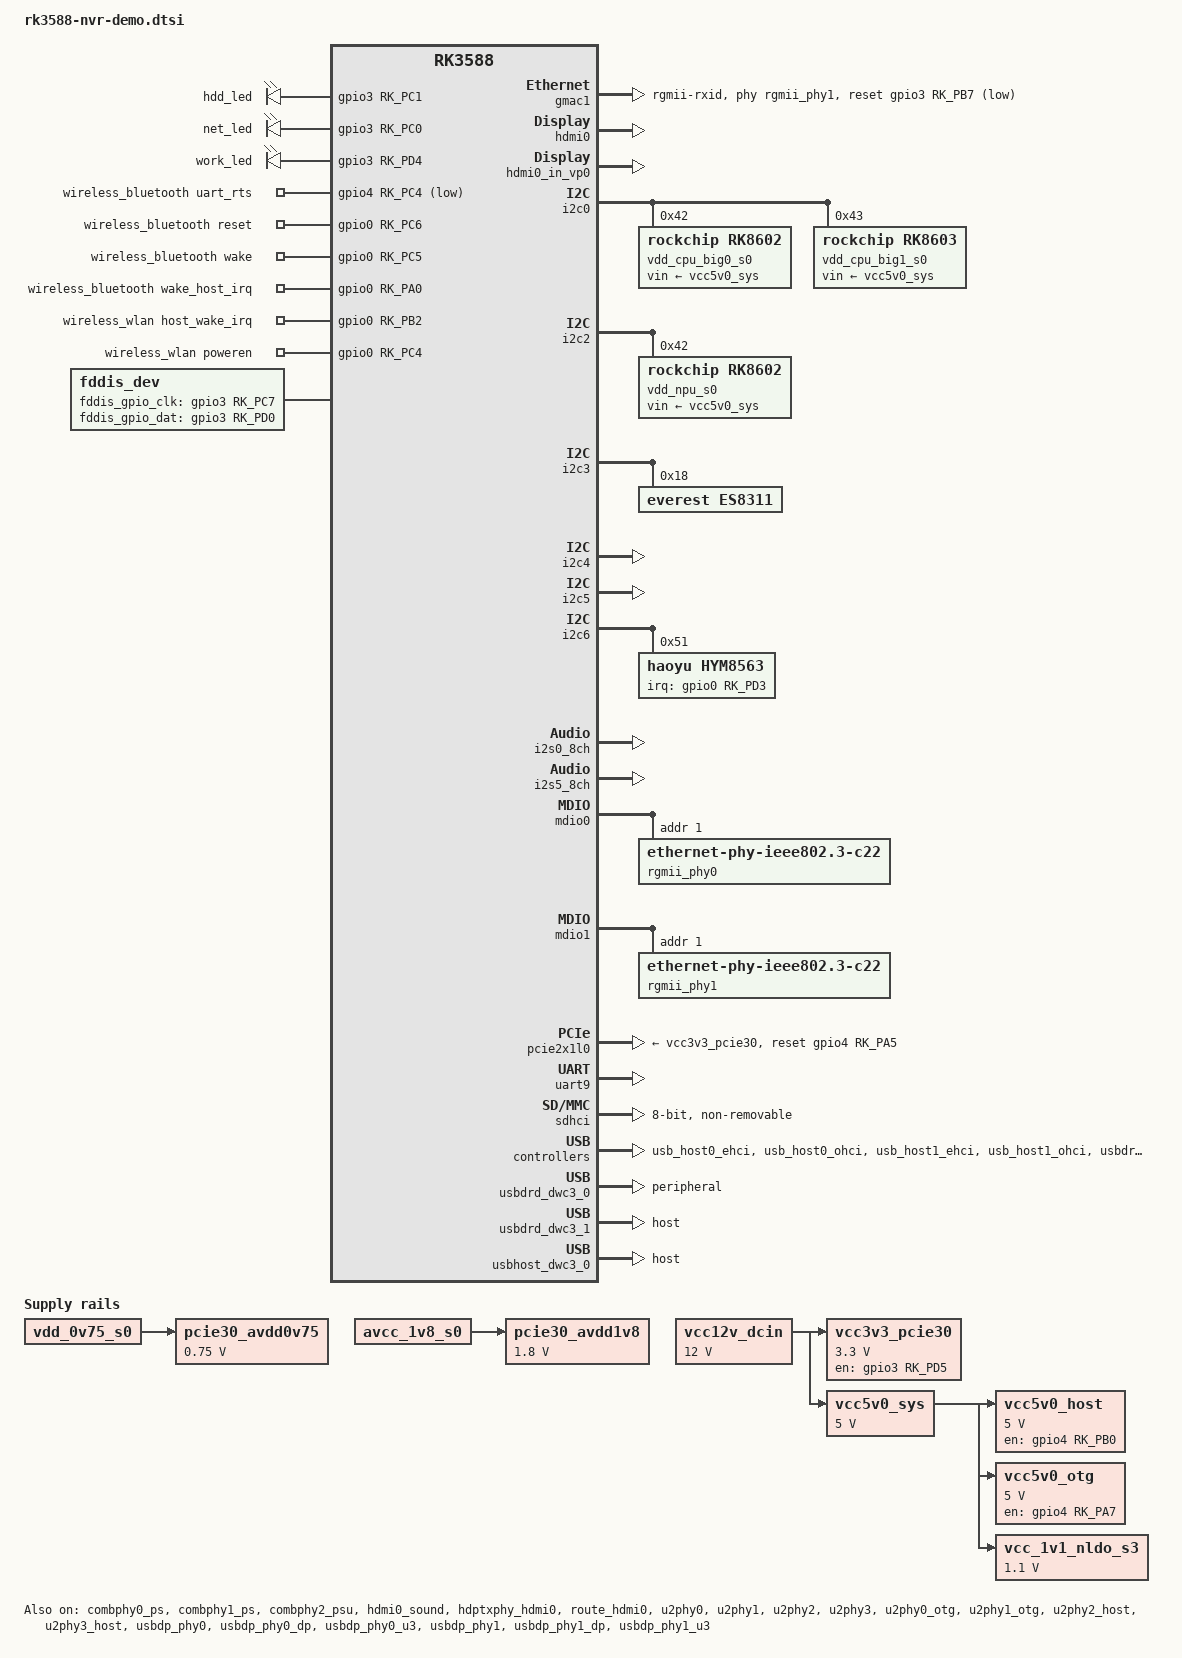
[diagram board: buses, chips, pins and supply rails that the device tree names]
// SPDX-License-Identifier: (GPL-2.0+ OR MIT)
/*
 * Copyright (c) 2021 Rockchip Electronics Co., Ltd.
 *
 */

#include "rk3588.dtsi"
#include "rk3588-nvr.dtsi"
#include "rk3588-rk806-single.dtsi"

/ {
	i2s0_sound: i2s0-sound {
		status = "okay";
		compatible = "simple-audio-card";
		simple-audio-card,format = "i2s";
		simple-audio-card,mclk-fs = <256>;
		simple-audio-card,name = "rockchip,es8311";
		simple-audio-card,dai-link@0 {
			format = "i2s";
			cpu {
				sound-dai = <&i2s0_8ch>;
			};
			codec {
				sound-dai = <&es8311>;
			};
		};
	};

	leds: leds {
		compatible = "gpio-leds";
		hdd_led: hdd-led {
			gpios = <&gpio3 RK_PC1 GPIO_ACTIVE_HIGH>;
			default-state = "off";
		};
		net_led: net-led {
			gpios = <&gpio3 RK_PC0 GPIO_ACTIVE_HIGH>;
			default-state = "off";
		};
		work_led: work-led {
			gpios = <&gpio3 RK_PD4 GPIO_ACTIVE_HIGH>;
			linux,default-trigger = "heartbeat";
		};
	};

	pcie30_avdd0v75: pcie30-avdd0v75 {
		compatible = "regulator-fixed";
		regulator-name = "pcie30_avdd0v75";
		regulator-boot-on;
		regulator-always-on;
		regulator-min-microvolt = <750000>;
		regulator-max-microvolt = <750000>;
		vin-supply = <&vdd_0v75_s0>;
	};

	pcie30_avdd1v8: pcie30-avdd1v8 {
		compatible = "regulator-fixed";
		regulator-name = "pcie30_avdd1v8";
		regulator-boot-on;
		regulator-always-on;
		regulator-min-microvolt = <1800000>;
		regulator-max-microvolt = <1800000>;
		vin-supply = <&avcc_1v8_s0>;
	};

	vcc12v_dcin: vcc12v-dcin {
		compatible = "regulator-fixed";
		regulator-name = "vcc12v_dcin";
		regulator-always-on;
		regulator-boot-on;
		regulator-min-microvolt = <12000000>;
		regulator-max-microvolt = <12000000>;
	};

	vcc3v3_pcie30: vcc3v3-pcie30 {
		compatible = "regulator-fixed";
		regulator-name = "vcc3v3_pcie30";
		regulator-min-microvolt = <3300000>;
		regulator-max-microvolt = <3300000>;
		enable-active-high;
		gpios = <&gpio3 RK_PD5 GPIO_ACTIVE_HIGH>;
		startup-delay-us = <7500>;
		vin-supply = <&vcc12v_dcin>;
	};

	vcc5v0_sys: vcc5v0-sys {
		compatible = "regulator-fixed";
		regulator-name = "vcc5v0_sys";
		regulator-always-on;
		regulator-boot-on;
		regulator-min-microvolt = <5000000>;
		regulator-max-microvolt = <5000000>;
		vin-supply = <&vcc12v_dcin>;
	};

	vcc5v0_host: vcc5v0-host-regulator {
		compatible = "regulator-fixed";
		regulator-name = "vcc5v0_host";
		regulator-boot-on;
		regulator-always-on;
		regulator-min-microvolt = <5000000>;
		regulator-max-microvolt = <5000000>;
		enable-active-high;
		gpio = <&gpio4 RK_PB0 GPIO_ACTIVE_HIGH>;
		vin-supply = <&vcc5v0_sys>;
		pinctrl-names = "default";
		pinctrl-0 = <&vcc5v0_host_en>;
	};

	vcc5v0_otg: vcc5v0-otg-regulator {
		compatible = "regulator-fixed";
		regulator-name = "vcc5v0_otg";
		regulator-min-microvolt = <5000000>;
		regulator-max-microvolt = <5000000>;
		enable-active-high;
		gpio = <&gpio4 RK_PA7 GPIO_ACTIVE_HIGH>;
		vin-supply = <&vcc5v0_sys>;
		pinctrl-names = "default";
		pinctrl-0 = <&vcc5v0_otg_en>;
	};

	vcc_1v1_nldo_s3: vcc-1v1-nldo-s3 {
		compatible = "regulator-fixed";
		regulator-name = "vcc_1v1_nldo_s3";
		regulator-always-on;
		regulator-boot-on;
		regulator-min-microvolt = <1100000>;
		regulator-max-microvolt = <1100000>;
		vin-supply = <&vcc5v0_sys>;
	};

	wireless_bluetooth: wireless-bluetooth {
        	compatible = "bluetooth-platdata";
        	clocks = <&hym8563>;
        	clock-names = "ext_clock";
        	uart_rts_gpios = <&gpio4 RK_PC4 GPIO_ACTIVE_LOW>;
        	pinctrl-names = "default", "rts_gpio";
        	pinctrl-0 = <&uart9m1_rtsn>, <&bt_reset_gpio>, <&bt_wake_gpio>, <&bt_irq_gpio>;
        	pinctrl-1 = <&uart9_gpios>;
        	BT,reset_gpio    = <&gpio0 RK_PC6 GPIO_ACTIVE_HIGH>;
        	BT,wake_gpio     = <&gpio0 RK_PC5 GPIO_ACTIVE_HIGH>;
        	BT,wake_host_irq = <&gpio0 RK_PA0 GPIO_ACTIVE_HIGH>;
        	status = "okay";
	}; 

	wireless_wlan: wireless-wlan {
	       compatible = "wlan-platdata";
 	       wifi_chip_type = "ap6255";
	       pinctrl-names = "default";
	       pinctrl-0 = <&wifi_host_wake_irq>, <&wifi_poweren_gpio>;
	       WIFI,host_wake_irq = <&gpio0 RK_PB2 GPIO_ACTIVE_HIGH>;
 	       WIFI,poweren_gpio = <&gpio0 RK_PC4 GPIO_ACTIVE_HIGH>;
	       status = "okay";
	};

	fddis_dev {
		compatible = "fddis_dev";
		fddis_gpio_clk = <&gpio3 RK_PC7 GPIO_ACTIVE_HIGH>;
		fddis_gpio_dat = <&gpio3 RK_PD0 GPIO_ACTIVE_HIGH>;
		status = "okay";
	};
};


&combphy0_ps {
	pinctrl-names = "default";
//	pinctrl-0 = <&sata0_pm_reset>;
	status = "okay";
};

&combphy1_ps {
	pinctrl-names = "default";
//	pinctrl-0 = <&sata1_pm_reset>;
	status = "okay";
};

&combphy2_psu {
	status = "okay";
};

&dp0 {
	pinctrl-0 = <&dp0m2_pins>;
	pinctrl-names = "default";
	status = "disabled";
};

&dp0_in_vp0 {
	status = "disabled";
};

&dp0_in_vp1 {
	status = "disabled";
};

&dp0_in_vp2 {
	status = "disabled";
};

&dp1 {
	pinctrl-0 = <&dp1m2_pins &dp1_hdmi_ctl>;
	pinctrl-names = "default";
	status = "disabled";
};

&dp1_in_vp0 {
	status = "disabled";
};

&dp1_in_vp1 {
	status = "disabled";
};

&dp1_in_vp2 {
	status = "disabled";
};

&gmac0 {
	/* Use rgmii-rxid mode to disable rx delay inside Soc */
	phy-mode = "rgmii-rxid";
	clock_in_out = "output";

	snps,reset-gpio = <&gpio4 RK_PB3 GPIO_ACTIVE_LOW>;
	snps,reset-active-low;
	/* Reset time is 20ms, 100ms for rtl8211f */
	snps,reset-delays-us = <0 20000 100000>;

	pinctrl-names = "default";
	pinctrl-0 = <&gmac0_miim
		     &gmac0_tx_bus2
		     &gmac0_rx_bus2
		     &gmac0_rgmii_clk
		     &gmac0_rgmii_bus>;

	tx_delay = <0x44>;
	/* rx_delay = <0x4f>; */

	phy-handle = <&rgmii_phy0>;
	status = "disabled";
};

&gmac1 {
	/* Use rgmii-rxid mode to disable rx delay inside Soc */
	phy-mode = "rgmii-rxid";
	clock_in_out = "output";

	snps,reset-gpio = <&gpio3 RK_PB7 GPIO_ACTIVE_LOW>;
	snps,reset-active-low;
	/* Reset time is 20ms, 100ms for rtl8211f */
	snps,reset-delays-us = <0 20000 100000>;

	pinctrl-names = "default";
	pinctrl-0 = <&gmac1_miim
		     &gmac1_tx_bus2
		     &gmac1_rx_bus2
		     &gmac1_rgmii_clk
		     &gmac1_rgmii_bus>;

	tx_delay = <0x42>;
	/* rx_delay = <0x4f>; */

	phy-handle = <&rgmii_phy1>;
	status = "okay";
};

&hdmi0 {
	enable-gpios = <&gpio4 RK_PB1 GPIO_ACTIVE_HIGH>;
	status = "okay";
};

&hdmi0_in_vp0 {
	status = "okay";
};

&hdmi0_in_vp1 {
	status = "disabled";
};

&hdmi0_in_vp2 {
	status = "disabled";
};

&hdmi0_sound {
	status = "okay";
};

&hdmi1 {
//	enable-gpios = <&gpio4 RK_PB2 GPIO_ACTIVE_HIGH>;
	status = "disabled";
};

&hdmi1_in_vp0 {
	status = "disabled";
};

&hdmi1_in_vp1 {
	status = "disabled";
};

&hdmi1_in_vp2 {
	status = "disabled";
};

&hdmi1_sound {
	status = "disabled";
};

&hdptxphy_hdmi0 {
	status = "okay";
};

&hdptxphy_hdmi1 {
	status = "disabled";
};

&i2c0 {
	status = "okay";
	pinctrl-names = "default";
	pinctrl-0 = <&i2c0m2_xfer>;

	vdd_cpu_big0_s0: vdd_cpu_big0_mem_s0: rk8602@42 {
		compatible = "rockchip,rk8602";
		reg = <0x42>;
		vin-supply = <&vcc5v0_sys>;
		regulator-compatible = "rk860x-reg";
		regulator-name = "vdd_cpu_big0_s0";
		regulator-min-microvolt = <550000>;
		regulator-max-microvolt = <1050000>;
		regulator-ramp-delay = <2300>;
		rockchip,suspend-voltage-selector = <1>;
		regulator-boot-on;
		regulator-always-on;
		regulator-state-mem {
			regulator-off-in-suspend;
		};
	};

	vdd_cpu_big1_s0: vdd_cpu_big1_mem_s0: rk8603@43 {
		compatible = "rockchip,rk8603";
		reg = <0x43>;
		vin-supply = <&vcc5v0_sys>;
		regulator-compatible = "rk860x-reg";
		regulator-name = "vdd_cpu_big1_s0";
		regulator-min-microvolt = <550000>;
		regulator-max-microvolt = <1050000>;
		regulator-ramp-delay = <2300>;
		rockchip,suspend-voltage-selector = <1>;
		regulator-boot-on;
		regulator-always-on;
		regulator-state-mem {
			regulator-off-in-suspend;
		};
	};
};

&i2c2 {
	status = "okay";

	vdd_npu_s0: vdd_npu_mem_s0: rk8602@42 {
		compatible = "rockchip,rk8602";
		reg = <0x42>;
		vin-supply = <&vcc5v0_sys>;
		regulator-compatible = "rk860x-reg";
		regulator-name = "vdd_npu_s0";
		regulator-min-microvolt = <550000>;
		regulator-max-microvolt = <950000>;
		regulator-ramp-delay = <2300>;
		rockchip,suspend-voltage-selector = <1>;
		regulator-boot-on;
		regulator-always-on;
		regulator-state-mem {
			regulator-off-in-suspend;
		};
	};
};

&i2c3 {
	status = "okay";
	es8311: es8311@18 {
		status = "okay";
		compatible = "everest,es8311";
		reg = <0x18>;
		#sound-dai-cells = <0>;
		adc-pga-gain = <6>;     /* 18dB */
		adc-volume = <0xbf>;    /* 0dB */
		dac-volume = <0xbf>;    /* 0dB */
		aec-mode = "adc left, adc right";
		clocks = <&cru I2S0_8CH_MCLKOUT>;
		clock-names = "mclk";
		assigned-clocks = <&cru I2S0_8CH_MCLKOUT>;
		assigned-clock-rates = <12288000>;
		pinctrl-names = "default";
		pinctrl-0 = <&i2s0_mclk>;
	};
};

&i2c4 {
	status = "okay";
	pinctrl-names = "default";
	pinctrl-0 = <&i2c4m3_xfer>;
};

&i2c5 {
	status = "okay";
};

&i2c6 {
	status = "okay";
	hym8563: hym8563@51 {
		compatible = "haoyu,hym8563";
		reg = <0x51>;
                #clock-cells = <0>;
		clock-output-names = "hym8563";
		pinctrl-names = "default";
		pinctrl-0 = <&rtc_int>;

		interrupt-parent = <&gpio0>;
		interrupts = <RK_PD3 IRQ_TYPE_LEVEL_LOW>;
		wakeup-source;
	};
};

&i2s0_8ch {
	status = "okay";
	pinctrl-0 = <&i2s0_lrck
		     &i2s0_sclk
		     &i2s0_sdi0
		     &i2s0_sdo0>;
};

&i2s5_8ch {
	status = "okay";
};

&i2s6_8ch {
	status = "disabled";
};

&mdio0 {
	rgmii_phy0: phy@1 {
		compatible = "ethernet-phy-ieee802.3-c22";
		reg = <0x1>;
	};
};

&mdio1 {
	rgmii_phy1: phy@1 {
		compatible = "ethernet-phy-ieee802.3-c22";
		reg = <0x1>;
	};
};


&pcie2x1l0 {
	reset-gpios = <&gpio4 RK_PA5 GPIO_ACTIVE_HIGH>;
	vpcie3v3-supply = <&vcc3v3_pcie30>;
        rockchip,skip-scan-in-resume;
	status = "okay";
};

&pcie30phy {
	status = "disabled";
};

&pcie3x4 {
	status = "disabled";
};

&rk806single {
	pinctrl-names = "default", "pmic-power-off";
	pinctrl-0 = <&pmic_pins>, <&rk806_dvs1_null>, <&rk806_dvs2_null>, <&rk806_dvs3_null>;
	pinctrl-1 = <&rk806_dvs1_slp>, <&rk806_dvs2_null>, <&rk806_dvs3_null>;

	regulators {
		avcc_1v8_s0: PLDO_REG1 {
			regulator-always-on;
			regulator-boot-on;
			regulator-min-microvolt = <1800000>;
			regulator-max-microvolt = <1800000>;
			regulator-name = "avcc_1v8_s0";
			regulator-state-mem {
				regulator-on-in-suspend;
				regulator-suspend-microvolt = <1800000>;
			};
		};
	};
};

&rockchip_suspend {
	status = "okay";
	rockchip,sleep-debug-en = <1>;
	rockchip,virtual-poweroff = <1>;
	rockchip,sleep-mode-config = <
		(0
		| RKPM_SLP_ARMOFF_DDRPD
		)
	>;
	rockchip,wakeup-config = <
		(0
		| RKPM_CPU0_WKUP_EN
		| RKPM_GPIO_WKUP_EN
		)
	>;
};

&route_dp0 {
	status = "disabled";
	force-output;
	connect = <&vp2_out_dp0>;

	force_timing {
		clock-frequency = <65000000>;
		hactive = <1024>;
		vactive = <768>;
		hfront-porch = <24>;
		hsync-len = <136>;
		hback-porch = <160>;
		vfront-porch = <3>;
		vsync-len = <6>;
		vback-porch = <29>;
		hsync-active = <0>;
		vsync-active = <0>;
		de-active = <0>;
		pixelclk-active = <0>;
	};

};

&route_dp1 {
	status = "disabled";
	force-output;
	connect = <&vp2_out_dp1>;

	force_timing {
		clock-frequency = <65000000>;
		hactive = <1024>;
		vactive = <768>;
		hfront-porch = <24>;
		hsync-len = <136>;
		hback-porch = <160>;
		vfront-porch = <3>;
		vsync-len = <6>;
		vback-porch = <29>;
		hsync-active = <0>;
		vsync-active = <0>;
		de-active = <0>;
		pixelclk-active = <0>;
	};

};

&route_hdmi0 {
	status = "okay";
	force-output;
	connect = <&vp0_out_hdmi0>;

	force_timing {
		clock-frequency = <65000000>;
		hactive = <1024>;
		vactive = <768>;
		hfront-porch = <24>;
		hsync-len = <136>;
		hback-porch = <160>;
		vfront-porch = <3>;
		vsync-len = <6>;
		vback-porch = <29>;
		hsync-active = <0>;
		vsync-active = <0>;
		de-active = <0>;
		pixelclk-active = <0>;
	};

};

&route_hdmi1 {
	status = "disabled";
	force-output;
	connect = <&vp2_out_hdmi1>;

	force_timing {
		clock-frequency = <65000000>;
		hactive = <1024>;
		vactive = <768>;
		hfront-porch = <24>;
		hsync-len = <136>;
		hback-porch = <160>;
		vfront-porch = <3>;
		vsync-len = <6>;
		vback-porch = <29>;
		hsync-active = <0>;
		vsync-active = <0>;
		de-active = <0>;
		pixelclk-active = <0>;
	};

};

&sata0 {
	status = "disabled";
};

&sata1 {
	status = "disabled";
};

&uart9 {
	status = "okay";
	pinctrl-names = "default";
	pinctrl-0 = <&uart9m1_xfer &uart9m1_ctsn>;
};

&sdhci {
	bus-width = <8>;
	no-sdio;
	no-sd;
	non-removable;
	max-frequency = <200000000>;
	mmc-hs400-1_8v;
	mmc-hs400-enhanced-strobe;
	status = "okay";
};

&pinctrl {
	wireless-bluetooth {
		uart9_gpios: uart9-gpios {
			rockchip,pins = <4 RK_PC4 RK_FUNC_GPIO &pcfg_pull_none>;
		 };
		bt_reset_gpio: bt-reset-gpio {
			rockchip,pins = <0 RK_PC6 RK_FUNC_GPIO &pcfg_pull_none>;
		};

		bt_wake_gpio: bt-wake-gpio {
			rockchip,pins = <0 RK_PC5 RK_FUNC_GPIO &pcfg_pull_none>;
		};

		bt_irq_gpio: bt-irq-gpio {
			rockchip,pins = <0 RK_PA0 RK_FUNC_GPIO &pcfg_pull_down>;
		};

//		bt_gpio: bt-gpio {
//			rockchip,pins =
//				<0 RK_PC6 RK_FUNC_GPIO &pcfg_pull_none>,
//				<0 RK_PA0 RK_FUNC_GPIO &pcfg_pull_up>,
//				<0 RK_PC5 RK_FUNC_GPIO &pcfg_pull_down>;
//		};
	};

	wireless-wlan {
		wifi_host_wake_irq: wifi-host-wake-irq {
			rockchip,pins = <0 RK_PB2 RK_FUNC_GPIO &pcfg_pull_down>;
		};
		
		wifi_poweren_gpio: wifi-poweren-gpio {
			rockchip,pins = <0 RK_PC4 RK_FUNC_GPIO &pcfg_pull_up>;
		};		
	};
	
	dp {
		dp1_hdmi_ctl: dp-hdmi-ctl {
			rockchip,pins = <0 RK_PD5 RK_FUNC_GPIO &pcfg_pull_up>,
					<3 RK_PB2 RK_FUNC_GPIO &pcfg_pull_up>;
		};
	};

	rtc {
		rtc_int: rtc-int {
			rockchip,pins = <0 RK_PD3 RK_FUNC_GPIO &pcfg_pull_up>;
		};
	};

	usb {
		vcc5v0_host_en: vcc5v0-host-en {
			rockchip,pins = <4 RK_PB0 RK_FUNC_GPIO &pcfg_pull_none>;
		};

		vcc5v0_otg_en: vcc5v0-otg-en {
			rockchip,pins = <4 RK_PA7 RK_FUNC_GPIO &pcfg_pull_none>;
		};
	};

	sata {
		sata0_pm_reset: sata0-pm-reset {
			rockchip,pins = <4 RK_PA0 RK_FUNC_GPIO &pcfg_output_high>;
		};
		sata1_pm_reset: sata1-pm-reset {
			rockchip,pins = <4 RK_PA1 RK_FUNC_GPIO &pcfg_output_high>;
		};
	};
};

&u2phy0 {
	status = "okay";
};

&u2phy1 {
	status = "okay";
};

&u2phy2 {
	status = "okay";
};

&u2phy3 {
	status = "okay";
};

&u2phy0_otg {
	vbus-supply = <&vcc5v0_otg>;
	status = "okay";
};

&u2phy1_otg {
	phy-supply = <&vcc5v0_host>;
	status = "okay";
};

&u2phy2_host {
	phy-supply = <&vcc5v0_host>;
	status = "okay";
};

&u2phy3_host {
	phy-supply = <&vcc5v0_host>;
	status = "okay";
};

&usb_host0_ehci {
	status = "okay";
};

&usb_host0_ohci {
	status = "okay";
};

&usb_host1_ehci {
	status = "okay";
};

&usb_host1_ohci {
	status = "okay";
};

&usbdp_phy0 {
	rockchip,dp-lane-mux = < 2 3 >;
	status = "okay";
};

&usbdp_phy0_dp {
	status = "okay";
};

&usbdp_phy0_u3 {
	status = "okay";
};

&usbdp_phy1 {
	rockchip,dp-lane-mux = < 0 1 2 3 >;
	status = "okay";
};

&usbdp_phy1_dp {
	status = "okay";
};

&usbdp_phy1_u3 {
	maximum-speed = "high-speed";
	status = "okay";
};

&usbdrd3_0 {
	status = "okay";
};

&usbdrd3_1 {
	status = "okay";
};

&usbdrd_dwc3_0 {
	dr_mode = "peripheral";
	status = "okay";
};

&usbdrd_dwc3_1 {
	dr_mode = "host";
	maximum-speed = "high-speed";
	status = "okay";
};

&usbhost3_0 {
	status = "okay";
};

&usbhost_dwc3_0 {
	dr_mode = "host";
	status = "okay";
};

&vdd_log_s0 {
	regulator-state-mem {
		regulator-on-in-suspend;
		regulator-suspend-microvolt = <750000>;
	};
};

&vdd_vdenc_s0 {
	regulator-init-microvolt = <750000>;
};

